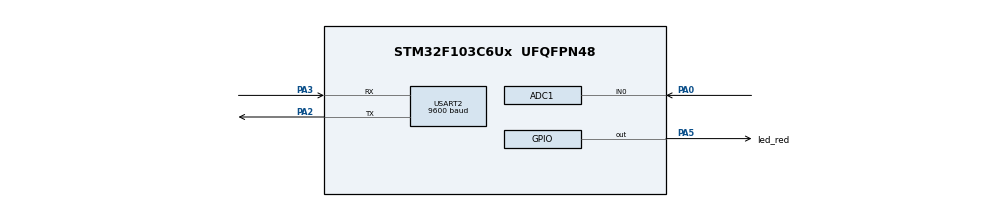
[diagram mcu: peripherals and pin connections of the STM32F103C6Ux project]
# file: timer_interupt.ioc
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ADC1.Channel-0\#ChannelRegularConversion=ADC_CHANNEL_0
ADC1.ContinuousConvMode=ENABLE
ADC1.NbrOfConversionFlag=1
ADC1.Rank-0\#ChannelRegularConversion=1
ADC1.SamplingTime-0\#ChannelRegularConversion=ADC_SAMPLETIME_1CYCLE_5
ADC1.master=1
Mcu.Family=STM32F1
Mcu.Name=STM32F103C6Ux
Mcu.Package=UFQFPN48
NVIC.ADC1_2_IRQn=true\:0\:0\:false\:false\:true\:true\:true
NVIC.PriorityGroup=NVIC_PRIORITYGROUP_4
NVIC.USART2_IRQn=true\:0\:0\:false\:false\:true\:true\:true
PA0-WKUP.Signal=ADCx_IN0
PA2.Mode=Asynchronous
PA2.Signal=USART2_TX
PA3.Mode=Asynchronous
PA3.Signal=USART2_RX
PA5.GPIO_Label=led_red
PA5.Signal=GPIO_Output
ProjectManager.HeapSize=0x200
ProjectManager.StackSize=0x400
ProjectManager.TargetToolchain=STM32CubeIDE
RCC.APB1Freq_Value=8000000
RCC.APB2Freq_Value=8000000
SH.ADCx_IN0.0=ADC1_IN0,IN0
TIM2.Period=9
TIM2.Prescaler=7999
USART2.BaudRate=9600
USART2.VirtualMode=VM_ASYNC
VP_SYS_VS_ND.Mode=No_Debug
VP_TIM2_VS_ClockSourceINT.Mode=Internal
board=custom

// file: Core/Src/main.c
/* USER CODE BEGIN Header */
/**
  ******************************************************************************
  * @file           : main.c
  * @brief          : Main program body
  ******************************************************************************
  * @attention
  *
  * <h2><center>&copy; Copyright (c) 2022 STMicroelectronics.
  * All rights reserved.</center></h2>
  *
  * This software component is licensed by ST under BSD 3-Clause license,
  * the "License"; You may not use this file except in compliance with the
  * License. You may obtain a copy of the License at:
  *                        opensource.org/licenses/BSD-3-Clause
  *
  ******************************************************************************
  */
/* USER CODE END Header */
#include "main.h"
#include "com_reiceive.h"

ADC_HandleTypeDef hadc1;

TIM_HandleTypeDef htim2;

UART_HandleTypeDef huart2;

void SystemClock_Config(void);
static void MX_GPIO_Init(void);
static void MX_ADC1_Init(void);
static void MX_USART2_UART_Init(void);
static void MX_TIM2_Init(void);
/* USER CODE BEGIN PFP */
uint8_t temp = 0;
uint8_t buffer[MAX_BUFFER_SIZE];
uint8_t index_buffer = 0;
uint8_t buffer_flag = 0;

void HAL_UART_RxCpltCallback(UART_HandleTypeDef *huart)
{
	if(huart->Instance - USART2 == 0)
	{
		HAL_UART_Transmit(&huart2, &temp, 1, 50);
		buffer[index_buffer++] = temp;
		if(index_buffer == MAX_BUFFER_SIZE) index_buffer = 0;
		buffer_flag = 1;
		HAL_UART_Receive_IT(&huart2, &temp, 1);
	}
}
uint8_t Get_value()
{
	return HAL_ADC_GetValue(& hadc1 );
}
uint8_t ADC_value = 0;
void Send_value()
{
	char str[30];
	if(ack == 1)
	{
		ADC_value = Get_value();
	}
	HAL_UART_Transmit (& huart2 , ( void *) str , sprintf ( str , "#ADC=%ld!\n\r",ADC_value) , 1000) ;

}

/* USER CODE END PFP */

/* USER CODE BEGIN 0 */

//uint8_t temp = 0;
//
//void HAL_UART_RxCpltCallback(UART_HandleTypeDef *huart){
//	if(huart->Instance == USART2){
//		HAL_UART_Transmit(&huart2, &temp, 1, 50);
//		HAL_UART_Receive_IT(&huart2, &temp, 1);
//	}
//}
/* USER CODE END 0 */

int main(void)
{

  /* MCU Configuration--------------------------------------------------------*/

  /* Reset of all peripherals, Initializes the Flash interface and the Systick. */
  HAL_Init();

  /* Configure the system clock */
  SystemClock_Config();

  /* Initialize all configured peripherals */
  MX_TIM2_Init();
  MX_GPIO_Init();
  MX_USART2_UART_Init();
  MX_ADC1_Init();
  /* USER CODE BEGIN 2 */
  HAL_ADC_Start(&hadc1);
  HAL_UART_Receive_IT(&huart2, &temp, 1);
  HAL_TIM_Base_Start_IT(&htim2);
  /* USER CODE END 2 */

  /* Infinite loop */
  /* USER CODE BEGIN WHILE */
  cmd_init();
  uart_communiction_innit();
  while (1)
  {

	  if(buffer_flag == 1)
	  {
		  cmd_parser_fsm();
		  buffer_flag = 0;
	  }
	  uart_communication_fsm() ;

    /* USER CODE END WHILE */

  }
}

void SystemClock_Config(void)
{
  RCC_OscInitTypeDef RCC_OscInitStruct = {0};
  RCC_ClkInitTypeDef RCC_ClkInitStruct = {0};
  RCC_PeriphCLKInitTypeDef PeriphClkInit = {0};

  /** Initializes the RCC Oscillators according to the specified parameters
  * in the RCC_OscInitTypeDef structure.
  */
  RCC_OscInitStruct.OscillatorType = RCC_OSCILLATORTYPE_HSI;
  RCC_OscInitStruct.HSIState = RCC_HSI_ON;
  RCC_OscInitStruct.HSICalibrationValue = RCC_HSICALIBRATION_DEFAULT;
  RCC_OscInitStruct.PLL.PLLState = RCC_PLL_NONE;
  if (HAL_RCC_OscConfig(&RCC_OscInitStruct) != HAL_OK)
  {
    Error_Handler();
  }
  /** Initializes the CPU, AHB and APB buses clocks
  */
  RCC_ClkInitStruct.ClockType = RCC_CLOCKTYPE_HCLK|RCC_CLOCKTYPE_SYSCLK
                              |RCC_CLOCKTYPE_PCLK1|RCC_CLOCKTYPE_PCLK2;
  RCC_ClkInitStruct.SYSCLKSource = RCC_SYSCLKSOURCE_HSI;
  RCC_ClkInitStruct.AHBCLKDivider = RCC_SYSCLK_DIV1;
  RCC_ClkInitStruct.APB1CLKDivider = RCC_HCLK_DIV1;
  RCC_ClkInitStruct.APB2CLKDivider = RCC_HCLK_DIV1;

  if (HAL_RCC_ClockConfig(&RCC_ClkInitStruct, FLASH_LATENCY_0) != HAL_OK)
  {
    Error_Handler();
  }
  PeriphClkInit.PeriphClockSelection = RCC_PERIPHCLK_ADC;
  PeriphClkInit.AdcClockSelection = RCC_ADCPCLK2_DIV2;
  if (HAL_RCCEx_PeriphCLKConfig(&PeriphClkInit) != HAL_OK)
  {
    Error_Handler();
  }
}

static void MX_ADC1_Init(void)
{

  ADC_ChannelConfTypeDef sConfig = {0};

  /** Common config
  */
  hadc1.Instance = ADC1;
  hadc1.Init.ScanConvMode = ADC_SCAN_DISABLE;
  hadc1.Init.ContinuousConvMode = ENABLE;
  hadc1.Init.DiscontinuousConvMode = DISABLE;
  hadc1.Init.ExternalTrigConv = ADC_SOFTWARE_START;
  hadc1.Init.DataAlign = ADC_DATAALIGN_RIGHT;
  hadc1.Init.NbrOfConversion = 1;
  if (HAL_ADC_Init(&hadc1) != HAL_OK)
  {
    Error_Handler();
  }
  /** Configure Regular Channel
  */
  sConfig.Channel = ADC_CHANNEL_0;
  sConfig.Rank = ADC_REGULAR_RANK_1;
  sConfig.SamplingTime = ADC_SAMPLETIME_1CYCLE_5;
  if (HAL_ADC_ConfigChannel(&hadc1, &sConfig) != HAL_OK)
  {
    Error_Handler();
  }

}

static void MX_TIM2_Init(void)
{

  TIM_ClockConfigTypeDef sClockSourceConfig = {0};
  TIM_MasterConfigTypeDef sMasterConfig = {0};

  htim2.Instance = TIM2;
  htim2.Init.Prescaler = 7999;
  htim2.Init.CounterMode = TIM_COUNTERMODE_UP;
  htim2.Init.Period = 9;
  htim2.Init.ClockDivision = TIM_CLOCKDIVISION_DIV1;
  htim2.Init.AutoReloadPreload = TIM_AUTORELOAD_PRELOAD_DISABLE;
  if (HAL_TIM_Base_Init(&htim2) != HAL_OK)
  {
    Error_Handler();
  }
  sClockSourceConfig.ClockSource = TIM_CLOCKSOURCE_INTERNAL;
  if (HAL_TIM_ConfigClockSource(&htim2, &sClockSourceConfig) != HAL_OK)
  {
    Error_Handler();
  }
  sMasterConfig.MasterOutputTrigger = TIM_TRGO_RESET;
  sMasterConfig.MasterSlaveMode = TIM_MASTERSLAVEMODE_DISABLE;
  if (HAL_TIMEx_MasterConfigSynchronization(&htim2, &sMasterConfig) != HAL_OK)
  {
    Error_Handler();
  }

}

static void MX_USART2_UART_Init(void)
{

  huart2.Instance = USART2;
  huart2.Init.BaudRate = 9600;
  huart2.Init.WordLength = UART_WORDLENGTH_8B;
  huart2.Init.StopBits = UART_STOPBITS_1;
  huart2.Init.Parity = UART_PARITY_NONE;
  huart2.Init.Mode = UART_MODE_TX_RX;
  huart2.Init.HwFlowCtl = UART_HWCONTROL_NONE;
  huart2.Init.OverSampling = UART_OVERSAMPLING_16;
  if (HAL_UART_Init(&huart2) != HAL_OK)
  {
    Error_Handler();
  }

}

static void MX_GPIO_Init(void)
{
  GPIO_InitTypeDef GPIO_InitStruct = {0};

  /* GPIO Ports Clock Enable */
  __HAL_RCC_GPIOA_CLK_ENABLE();

  /*Configure GPIO pin Output Level */
  HAL_GPIO_WritePin(LED_RED_GPIO_Port, LED_RED_Pin, GPIO_PIN_RESET);

  /*Configure GPIO pin : LED_RED_Pin */
  GPIO_InitStruct.Pin = LED_RED_Pin;
  GPIO_InitStruct.Mode = GPIO_MODE_OUTPUT_PP;
  GPIO_InitStruct.Pull = GPIO_NOPULL;
  GPIO_InitStruct.Speed = GPIO_SPEED_FREQ_LOW;
  HAL_GPIO_Init(LED_RED_GPIO_Port, &GPIO_InitStruct);

}

/* USER CODE BEGIN 4 */
void HAL_TIM_PeriodElapsedCallback(TIM_HandleTypeDef *htim)
{
	timerRun();
}
/* USER CODE END 4 */

void Error_Handler(void)
{
  __disable_irq();
  while (1)
  {
  }
}

/************************ (C) COPYRIGHT STMicroelectronics *****END OF FILE****/
